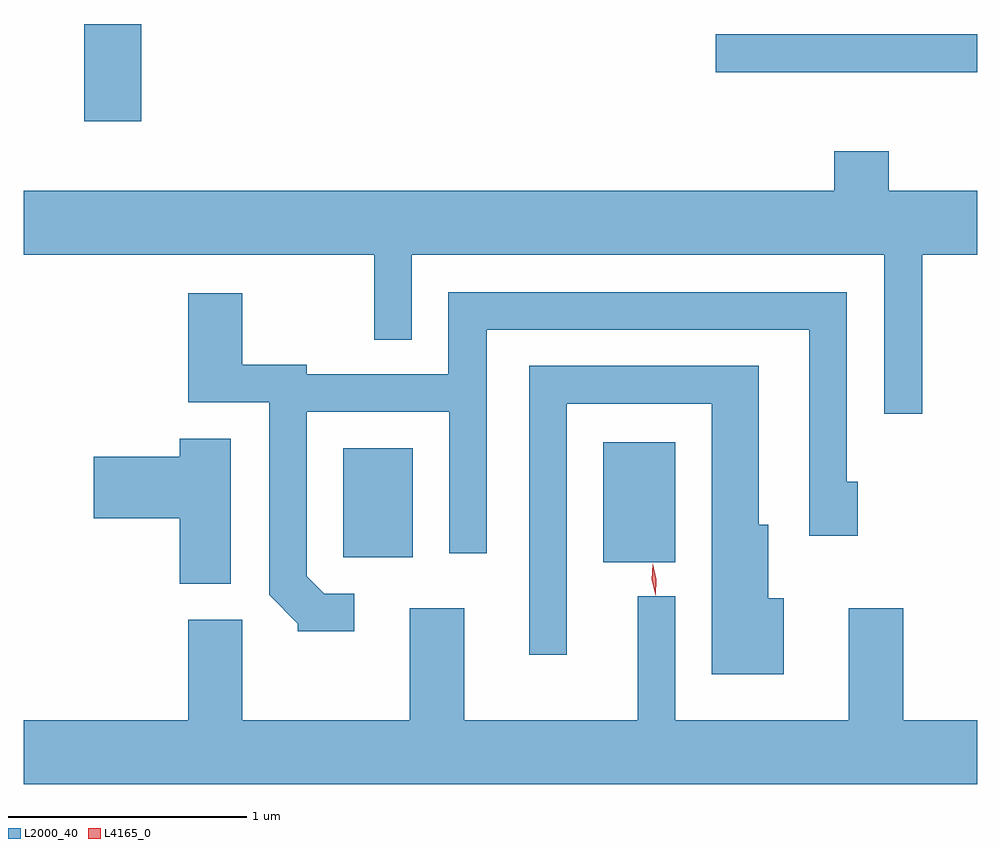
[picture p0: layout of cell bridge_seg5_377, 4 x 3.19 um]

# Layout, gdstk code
import gdstk
lib = gdstk.Library(unit=1e-6, precision=1e-09)
def R(c, l, rs):  # rectangles x0, y0, x1, y1
    for r in rs: c.add(gdstk.rectangle(r[:2], r[2:], *l))
def P(c, l, *ps):  # polygons
    for p in ps: c.add(gdstk.Polygon(p, *l))
L2000_40 = (2000, 40)
L4165_0 = (4165, 0)

bridge_seg5_377 = lib.new_cell('bridge_seg5_377')
R(bridge_seg5_377, L2000_40, [(507.511,1482.146,507.814,1482.649), (506.421,1482.166,506.714,1482.624), (505.336,1483.996,505.574,1484.403), (507.983,1484.201,509.081,1484.359)])
P(bridge_seg5_377, L2000_40, [(508.691,1482.768),(508.849,1482.768),(508.849,1483.436),(509.081,1483.436),(509.081,1483.704),(508.709,1483.704),(508.709,1483.869),(508.481,1483.869),(508.481,1483.704),(505.081,1483.704),(505.081,1483.436),(506.551,1483.436),(506.551,1483.078),(506.709,1483.078),(506.709,1483.436),(508.691,1483.436)],
  [(506.468,1482.014),(506.342,1482.014),(506.269,1482.087),(506.269,1482.776),(506.866,1482.776),(506.866,1482.183),(507.024,1482.183),(507.024,1483.121),(508.376,1483.121),(508.376,1482.256),(508.579,1482.256),(508.579,1482.484),(508.534,1482.484),(508.534,1483.279),(506.861,1483.279),(506.861,1482.934),(506.269,1482.934),(506.269,1482.974),(505.999,1482.974),(505.999,1483.274),(505.771,1483.274),(505.771,1482.816),(506.111,1482.816),(506.111,1482.009),(506.231,1481.889),(506.231,1481.856),(506.468,1481.856)],
  [(508.269,1481.994),(508.204,1481.994),(508.204,1482.304),(508.164,1482.304),(508.164,1482.969),(507.201,1482.969),(507.201,1481.758),(507.359,1481.758),(507.359,1482.811),(507.966,1482.811),(507.966,1481.676),(508.269,1481.676)],
  [(505.949,1482.664),(505.736,1482.664),(505.736,1482.589),(505.376,1482.589),(505.376,1482.331),(505.736,1482.331),(505.736,1482.056),(505.949,1482.056)],
  [(509.081,1481.484),(508.769,1481.484),(508.769,1481.954),(508.541,1481.954),(508.541,1481.484),(507.814,1481.484),(507.814,1482.003),(507.656,1482.003),(507.656,1481.484),(506.929,1481.484),(506.929,1481.954),(506.701,1481.954),(506.701,1481.484),(505.999,1481.484),(505.999,1481.904),(505.771,1481.904),(505.771,1481.484),(505.081,1481.484),(505.081,1481.216),(509.081,1481.216)])
P(bridge_seg5_377, L4165_0, [(507.731,1482.008),(507.715,1482.073),(507.719,1482.14),(507.719,1482.14),(507.72,1482.14),(507.735,1482.075),(507.732,1482.008),(507.732,1482.008)])

lib.write_gds('bridge_seg5_377.gds')
